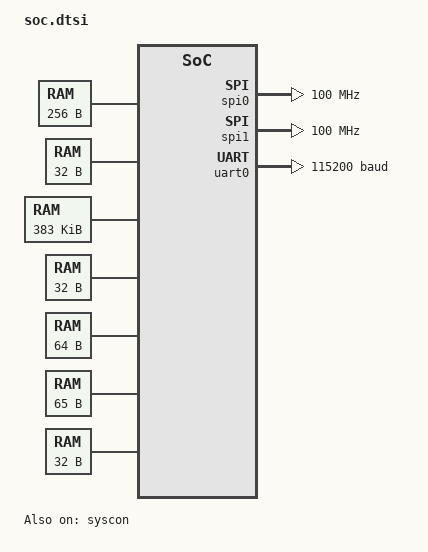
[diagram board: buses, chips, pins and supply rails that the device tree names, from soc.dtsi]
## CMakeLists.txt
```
# Copyright 2025 The ChromiumOS Authors
# Use of this source code is governed by a BSD-style license that can be
# found in the LICENSE file.
# SPDX-License-Identifier: Apache-2.0

zephyr_library_sources("src/platform.c")
zephyr_library_sources("src/flash_qspi.c")

if(DEFINED CONFIG_CROS_EC_RO)

set(flash_header_output_bin ${CMAKE_BINARY_DIR}/flash_header.bin)
zephyr_file_copy(flash_header.bin ${flash_header_output_bin})

endif()
```

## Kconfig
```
# Copyright 2025 The ChromiumOS Authors
# Use of this source code is governed by a BSD-style license that can be
# found in the LICENSE file.

if BOARD_ET171

config FP_SENSOR_ALLOW_EXTERNAL_CALI_DATA
	bool
	default y if FINGERPRINT_SENSOR_EGIS630

endif
```

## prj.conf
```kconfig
# Copyright 2025 The ChromiumOS Authors
# Use of this source code is governed by a BSD-style license that can be
# found in the LICENSE file.

CONFIG_BOARD_ET171=y

CONFIG_PLATFORM_EC_NOINIT_END_OF_RAM_SECTION=n
CONFIG_PLATFORM_EC_FLASH_SIZE_BYTES=200000
CONFIG_XIP=y

CONFIG_EXCEPTION_DEBUG=y
CONFIG_PLATFORM_EC_ROLLBACK_MPU_PROTECT=y

# Watchdog related configs
# Maximum watchdog period for atcwdt200 is 500ms. Many operations in the FP
# application takes hundreds of milliseconds or even more, e.g. RWSIG, flash
# operations, FP related calculations. Combining such two actions in series
# would lead to watchdog reset, thus we are forced to disable watchdog.
CONFIG_WDT_DISABLE_AT_BOOT=y
# The tick hook is used only for watchdog reload for FPMCU
CONFIG_PLATFORM_EC_HOOK_TICK=n

# Enable USB for HC
CONFIG_UDC_DRIVER=y
CONFIG_USB_DEVICE_STACK_NEXT=y
# 2kB looks sufficient, but add additional margin for future changes
CONFIG_UDC_BUF_POOL_SIZE=3072
CONFIG_USBD_THREAD_STACK_SIZE=2048
CONFIG_USB_DEVICE_MAX_POWER=250

CONFIG_USB_DEVICE_MANUFACTURER="Google"
CONFIG_USB_DEVICE_PRODUCT="FPMCU"
CONFIG_USB_DEVICE_VID=0x18D1
CONFIG_USB_DEVICE_SELF_POWERED=n
CONFIG_USB_DEVICE_REMOTE_WAKEUP=y
CONFIG_USB_DEVICE_SN="0"
CONFIG_USB_DEVICE_SN_HWINFO=y

# Use USB for signaling MKBP events
CONFIG_PLATFORM_EC_MKBP_USE_GPIO=n
CONFIG_PLATFORM_EC_MKBP_USE_USB=y

# Sizes adjusted for 512 bytes payload for write and read flash host commands
CONFIG_EC_HOST_CMD_HANDLER_RX_BUFFER_SIZE=528
CONFIG_EC_HOST_CMD_HANDLER_TX_BUFFER_SIZE=520

CONFIG_FPU_SHARING=n
CONFIG_FLOAT_HARD=y

# SPI/Flash related configs
CONFIG_SPI_NOR=n
CONFIG_FLASH_ANDES_QSPI=n
CONFIG_FLASH_ANDES_QSPI_XIP_COUNT_REGS=y
CONFIG_HEAP_MEM_POOL_SIZE=1024

# BBRAM not supported on ET171, use RAM instead
CONFIG_BBRAM=n
CONFIG_RETAINED_MEM=y
CONFIG_RETAINED_MEM_INIT_PRIORITY=15
CONFIG_CACHE_ANDES_INIT_PRIORITY=10
CONFIG_RETAINED_MEM_MUTEX_FORCE_DISABLE=y

# Use standar 0.1ms tick
CONFIG_SYS_CLOCK_TICKS_PER_SEC=10000

# No access to hardware WP pin, use external method
CONFIG_PLATFORM_EC_WP_EXTERNAL=y

# FPS related configs
CONFIG_FINGERPRINT_SENSOR_EGIS630_HEAP_SIZE=153600

# Enable the fp vendor command to get MT data
CONFIG_PLATFORM_EC_FINGERPRINT_VENDOR_COMMAND=y

# Make possibility to enter bootloader
CONFIG_PLATFORM_EC_HOST_COMMAND_ENTER_BOOTLOADER=y

# Disable kernel shell, becasue it requires addtional 5kB of flash
CONFIG_KERNEL_SHELL=n

# The flash shell requires page layout which is not supported
CONFIG_FLASH_SHELL=n

# Make sure to start shell before main
CONFIG_PLATFORM_EC_CONSOLE_START_SHELL_TASK=y

# RISCV PMP entry configurations
# b/406946889: Allow modifying PMP entries so that we can reconfigure them
# when jumping between RO and RW.
CONFIG_PMP_NO_LOCK_GLOBAL=y
CONFIG_NULL_POINTER_EXCEPTION_DETECTION_PMP=y
CONFIG_HW_STACK_PROTECTION=y

# Use EGIS ET171's secure OTP storage for keys.
CONFIG_EGIS_ET171_OTP_KEY=y

# Current rollback version value.
CONFIG_PLATFORM_EC_ROLLBACK_VERSION=1

# ASCP s_goog replacement
CONFIG_ASCP_S_GOOG_MATCH_FILE="s_goog_match.bin"
CONFIG_ASCP_S_GOOG_REPLACE_FILE="s_goog_replace.bin"

# Enable signaling logs via events to allow autosuspend
CONFIG_PLATFORM_EC_HOSTCMD_CONSOLE_EVENT=y
```

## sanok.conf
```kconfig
# Copyright 2025 The ChromiumOS Authors
# Use of this source code is governed by a BSD-style license that can be
# found in the LICENSE file.

CONFIG_USB_DEVICE_PID=0x5401
```

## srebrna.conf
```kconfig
# Copyright 2026 The ChromiumOS Authors
# Use of this source code is governed by a BSD-style license that can be
# found in the LICENSE file.

CONFIG_USB_DEVICE_PID=0x5402
```

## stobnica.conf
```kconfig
# Copyright 2026 The ChromiumOS Authors
# Use of this source code is governed by a BSD-style license that can be
# found in the LICENSE file.

CONFIG_USB_DEVICE_PID=0x5406
```

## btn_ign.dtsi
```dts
/* Copyright 2026 The ChromiumOS Authors
 * Use of this source code is governed by a BSD-style license that can be
 * found in the LICENSE file.
 */

/ {
	aliases {
		gpio-btn-ign-out = &gpio_btn_ign_out;
	};

	gpio-leds {
		/* Common pattern in Zephyr for GPIO outputs */
		compatible = "gpio-leds";

		gpio_btn_ign_out: gpio_btn_ign_out {
			gpios = <&gpio0 2 GPIO_ACTIVE_HIGH>;
		};
	};
};
```

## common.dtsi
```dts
/* Copyright 2025 The ChromiumOS Authors.
 * Use of this source code is governed by a BSD-style license that can be
 * found in the LICENSE file.
 */

#include <egis/common_priv.dtsi>
#include <zephyr/dt-bindings/memory-attr/memory-attr-riscv.h>

#include "soc.dtsi"
#include "gpio.dtsi"
#include "rwsig.dtsi"
#include "ascp.dtsi"

#include <cros/integrated_fwid.dtsi>
#include <cros/integrated_ro_frid.dtsi>

/ {
	chosen {
		cros-fp,fingerprint-sensor = &fp_sensor;
		cros-ec,flash = &p25q16;
		zephyr,flash = &p25q16;
		zephyr,flash-controller = &p25q16;
		flash-header = &flash_header;
	};

	named-bbram-regions {
		compatible = "named-bbram-regions";

		scratchpad {
			offset = <0x00>;
			size = <0x02>;
		};
		saved-reset-flags {
			offset = <0x02>;
			size = <0x04>;
		};
		saved-panic-reason {
			offset = <0x06>;
			size = <0x02>;
		};
		saved-panic-info {
			offset = <0x08>;
			size = <0x02>;
		};
		saved-panic-exception {
			offset = <0x0a>;
			size = <0x02>;
		};
		saved-panic-flags {
			offset = <0x0c>;
			size = <0x02>;
		};
	};


	/* Map the sections to fit the flash chip protection table */
	binman {
		/* SDCP flash header 4kB */

		/* Fill 1/4 of 1MB */
		wp-ro {
			size = <0x40000>;
			flash-header {
				offset = <0x0>;
				size = <0x1000>;
				type = "blob";
				filename = "../build-ro/flash_header.bin";
			};
			ec-ro {
				offset = <0x1000>;
				size = <(0x40000 - 0x1000)>;
				pad-byte = <0xff>;
				ro-fw {
					/*
					 * Clang doesn't emit STT_SECTION symbols (also
					 * called 'section symbols'), so 'rom_start'
					 * symbol is not available. Fortunately, Zephyr
					 * linker scripts provide '__rom_start_address'
					 * symbol which points to the beginning of
					 * 'rom_start' section.
					 */
					elf-base-sym = "__rom_start_address";
				};
			};
		};

		/* Use the rest for RW + Rollbacks. Erase unit(4kB) per rollback */
		rollback0 {
			offset = <0x40000>;
			size = <0x1000>;
			type = "blob";
			filename = "../build-rw/rollback_initial_data.bin";
		};

		rollback1 {
			offset = <0x41000>;
			size = <0x1000>;
			type = "blob";
			filename = "../build-rw/rollback_initial_data.bin";
		};

		ec-rw {
			offset = <0x42000>;
			size = <0xbe000>;
			rw-fw {
				/*
				 * Clang doesn't emit STT_SECTION symbols (also
				 * called 'section symbols'), so 'rom_start'
				 * symbol is not available. Fortunately, Zephyr
				 * linker scripts provide '__rom_start_address'
				 * symbol which points to the beginning of
				 * 'rom_start' section.
				 */
				zephyr-rw {
					elf-base-sym = "__rom_start_address";
				};
			};
		};
		pad-byte = <0xff>;
	};
};

&spi0 {
	p25q16: qspi-nor-flash {
		compatible = "andestech,qspi-nor", "jedec,spi-nor";
		size = <DT_SIZE_K(2048)>;
		spi-frequency = <50000000>;
		status = "okay";
	};
};

&p25q16 {
	partitions {
		compatible = "fixed-partitions";
		#address-cells = <1>;
		#size-cells = <1>;

		sdcp_pk_d: partition@35 {
			label = "sdcp_pk_d";
			reg = <0x35 65>;
		};

		sdcp_s_m: partition@76 {
			label = "sdcp_s_m";
			reg = <0x76 64>;
		};

		sdcp_pk_m: partition@138 {
			label = "sdcp_pk_m";
			reg = <0x138 65>;
		};

		sdcp_s_goog: partition@179 {
			label = "sdcp_s_goog";
			reg = <0x179 64>;
		};

		mt_data: partition@1b9 {
			label = "mt_data";
			reg = <0x1b9 128>;
		};

		rollback0: partition@40000 {
			label = "rollback0";
			reg = <0x40000 DT_SIZE_K(4)>;
		};

		rollback1: partition@41000 {
			label = "rollback1";
			reg = <0x41000 DT_SIZE_K(4)>;
		};
	};
};

/ {
	rollback: rollback@80040000 {
		compatible = "zephyr,memory-region";
		reg = <0x80040000 DT_SIZE_K(8)>;
		zephyr,memory-region = "ROLLBACK_REGION";
		/*
		 * This region is only used in M-mode, not U-mode. It has no
		 * access permissions (no read, no write, and no execute) unless
		 * unlocked, at which point read and write access are enabled.
		 */
		zephyr,memory-attr = <(DT_MEM_RISCV_TYPE_EMPTY)>;
	};
};
```

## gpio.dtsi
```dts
/* Copyright 2023 The ChromiumOS Authors.
 * Use of this source code is governed by a BSD-style license that can be
 * found in the LICENSE file.
 */

#include <dt-bindings/gpio_defines.h>

/ {
	named-gpios {
		compatible = "named-gpios";

		entering-rw {
			enum-name = "GPIO_ENTERING_RW";
		};
	};
};
```

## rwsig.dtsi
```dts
/* Copyright 2025 The ChromiumOS Authors.
 * Use of this source code is governed by a BSD-style license that can be
 * found in the LICENSE file.
 */

&binman {
	wp-ro {
		ec-ro {
			/* Last part before signature for bootloader */
			key-ro {
				compatible = "cros-ec,flash-layout";
				type = "section";
				offset = <(0x40000 - 0x1000 - 64 - 0x400)>;
				size = <0x400>;
			};
			/* Signature for bootloader ECDSA-SHA256 */
			sig-ro {
				type = "section";
				offset = <(0x40000 - 0x1000 - 64)>;
				size = <64>;
			};
		};
	};

	ec-rw {
		rw-fw {
			rw-rbver {
				size = <4>;
				type = "null";
				/* points to
				 * current_image_data.rollback_version
				 */
				offset-from-elf = <&zephyr_rw>,
					"current_image_data", <40>;
				overlap;
			};

			sig-rw {
				type = "section";
				offset = <(0xbe000 - 0x400)>;
				size = <0x400>;
			};
			pad-byte = <0xff>;
		};
	};
};
```

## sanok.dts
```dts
/* Copyright 2025 The ChromiumOS Authors.
 * Use of this source code is governed by a BSD-style license that can be
 * found in the LICENSE file.
 */

#include "common.dtsi"
#include "btn_ign.dtsi"

#define EGIS630_TEST_IMAGE_PROPS \
	width = <80>; \
	height = <64>; \
	bits-per-pixel = <16>; \
	frame-size = <10240>; \
	image-data-offset-bytes = <0>; \
	v4l2-pixel-format = "V4L2_PIX_FMT_GREY";

#define EGIS630_IMAGE_COLLECTION_PROPS \
	width = <80>; \
	height = <64>; \
	bits-per-pixel = <8>; \
	frame-size = <26200>; \
	image-data-offset-bytes = <0>; \
	v4l2-pixel-format = "V4L2_PIX_FMT_GREY";

&spi1 {
	fp_sensor: egis630@0 {
		compatible = "egis,egis630";
		reg = <0>;
		spi-max-frequency = <4000000>;

		configs {
			compatible = "fingerprint-image-frame-params";
			config0 {
				EGIS630_IMAGE_COLLECTION_PROPS
				capture-type = "FINGERPRINT_CAPTURE_TYPE_SIMPLE_IMAGE";
			};
			config1 {
				EGIS630_TEST_IMAGE_PROPS
				capture-type = "FINGERPRINT_CAPTURE_TYPE_PATTERN0";
			};
			config2 {
				EGIS630_TEST_IMAGE_PROPS
				capture-type = "FINGERPRINT_CAPTURE_TYPE_PATTERN1";
			};
			config3 {
				EGIS630_TEST_IMAGE_PROPS
				capture-type = "FINGERPRINT_CAPTURE_TYPE_DEFECT_PXL_TEST";
			};
			config4 {
				EGIS630_TEST_IMAGE_PROPS
				capture-type = "FINGERPRINT_CAPTURE_TYPE_ABNORMAL_TEST";
			};
			config5 {
				EGIS630_TEST_IMAGE_PROPS
				capture-type = "FINGERPRINT_CAPTURE_TYPE_NOISE_TEST";
			};
			config6 {
				EGIS630_TEST_IMAGE_PROPS
				capture-type = "FINGERPRINT_CAPTURE_TYPE_QUALITY_TEST";
			};
			config7 {
				EGIS630_IMAGE_COLLECTION_PROPS
				capture-type = "FINGERPRINT_CAPTURE_TYPE_VENDOR_FORMAT";
			};
		};

		irq-gpios = <&gpio0 9 GPIO_ACTIVE_HIGH>;
		reset-gpios = <&gpio0 10 GPIO_ACTIVE_LOW>;
		calibration-data = <&mt_data>;
	};
};
```

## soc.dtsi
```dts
/* Copyright 2025 The ChromiumOS Authors.
 * Use of this source code is governed by a BSD-style license that can be
 * found in the LICENSE file.
 */

#include <cros/egis/et171.dtsi>

/delete-node/ &sram;

/ {
	chosen {
		cros-ec,bbram = &bbram;
	};

	sdcp: memory@0 {
		device_type = "memory";
		compatible = "mmio-sram";
		reg = <0x00000000 256>;
	};

	memory@100 {
		compatible = "zephyr,memory-region", "mmio-sram";
		reg = <0x100 32>;
		zephyr,memory-region = "RetainedMem";
		status = "okay";

		bbram: retained-ram {
			compatible = "zephyr,retained-ram";
			status = "okay";
			#address-cells = <1>;
			#size-cells = <1>;
		};
	};

	sram: memory@400 {
		device_type = "memory";
		compatible = "mmio-sram";
		/* Round down to kB, because the SRAM_SIZE config uses kB as SRAM
		 * size
		 */
		reg = <0x00000400 DT_SIZE_K(383)>;
	};

	sdcp_h_f: memory@90000000 {
		device_type = "memory";
		compatible = "mmio-sram";
		reg = <0x90000000 32>;
	};

	sdcp_s_d: memory@90000020 {
		device_type = "memory";
		compatible = "mmio-sram";
		reg = <0x90000020 64>;
	};

	sdcp_pk_f: memory@90000060 {
		device_type = "memory";
		compatible = "mmio-sram";
		reg = <0x90000060 65>;
	};

	sdcp_sk_f: memory@900000a1 {
		device_type = "memory";
		compatible = "mmio-sram";
		reg = <0x900000a1 32>;
	};
};

&spi0 {
	status = "okay";
	clock-frequency = <100000000>;
};

&spi1 {
	status = "okay";
	clock-frequency = <100000000>;
};

&syscon {
	status = "okay";
};

&uart0 {
	status = "okay";
	current-speed = <115200>;
	/delete-property/ clock-frequency;
};

&clock {
	ahb-divide = <2>;
	apb-divide = <1>;
};
```

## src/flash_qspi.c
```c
/* Copyright 2025 The ChromiumOS Authors
 * Use of this source code is governed by a BSD-style license that can be
 * found in the LICENSE file.
 */

#include "spi_flash_reg.h"

#include <zephyr/device.h>
#include <zephyr/devicetree.h>
#include <zephyr/drivers/flash.h>
#include <zephyr/drivers/flash/andes_flash_xip_api_ex.h>
#include <zephyr/init.h>
#include <zephyr/kernel.h>

#define flash_ctrl_dev DEVICE_DT_GET(DT_CHOSEN(zephyr_flash_controller))
#define QSPI_INIT_PRIORITY 51

static int enable_qspi(void)
{
	int ret;
	struct andes_xip_ex_ops_mem_read_cmd_in rd_cmd = {
		.cmd = FLASH_ANDES_XIP_MEM_RD_CMD_EB,
	};
	struct andes_xip_ex_ops_set_in set_regs = {
		.regs = { 0 },
		.masks = { 0 },
	};

	set_regs.regs[1] = SPI_FLASH_SR2_QE;
	set_regs.masks[1] = SPI_FLASH_SR2_QE;
	ret = flash_ex_op(flash_ctrl_dev, FLASH_ANDES_XIP_EX_OP_SET_STATUS_REGS,
			  (uintptr_t)&set_regs, 0);
	if (ret) {
		return ret;
	}

	ret = flash_ex_op(flash_ctrl_dev, FLASH_ANDES_XIP_EX_OP_MEM_READ_CMD,
			  (uintptr_t)&rd_cmd, 0);

	return ret;
}
SYS_INIT(enable_qspi, POST_KERNEL, QSPI_INIT_PRIORITY);
BUILD_ASSERT(CONFIG_FLASH_ANDES_QSPI_INIT_PRIORITY < QSPI_INIT_PRIORITY);
```

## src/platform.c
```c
/* Copyright 2025 The ChromiumOS Authors
 * Use of this source code is governed by a BSD-style license that can be
 * found in the LICENSE file.
 */

#include "fpsensor/fpsensor.h"
#include "write_protect.h"

#include <zephyr/devicetree.h>
#include <zephyr/drivers/watchdog.h>

#define MT_DATA_OFF DT_REG_ADDR(DT_NODELABEL(mt_data))
struct mt_data {
	uint32_t size;
	uint8_t data[];
};

int fp_vendor_command(uint32_t param, uint8_t *buf, size_t buf_size)
{
	const struct mt_data *mt_data =
		(struct mt_data *)(CONFIG_FLASH_BASE_ADDRESS + MT_DATA_OFF);
	if (mt_data->size > buf_size) {
		return -EC_RES_RESPONSE_TOO_BIG;
	}
	memcpy(buf, (uint8_t *)mt_data->data, mt_data->size);

	return mt_data->size;
}

/* TODO: Remove once https://github.com/zephyrproject-rtos/zephyr/issues/104587
 * is resolved.
 */
static int disable_watchdog(void)
{
	const struct device *wdt_dev = DEVICE_DT_GET(DT_NODELABEL(wdt));

	return wdt_disable(wdt_dev);
}
SYS_INIT(disable_watchdog, POST_KERNEL, 0);
```
